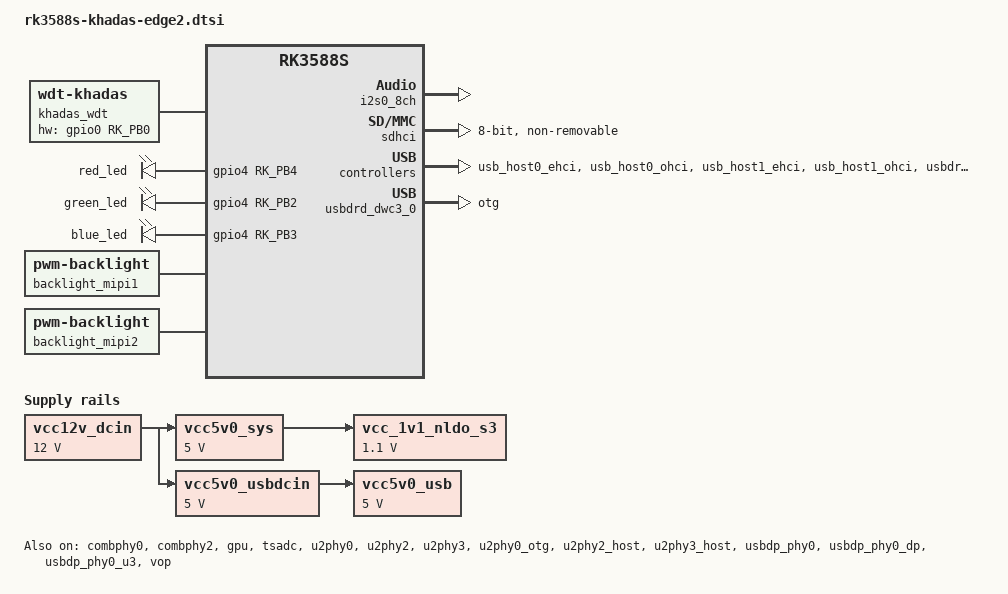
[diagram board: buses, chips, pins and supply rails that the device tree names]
// SPDX-License-Identifier: (GPL-2.0+ OR MIT)
/*
 * Copyright (c) 2022 Wesion Technology Co., Ltd.
 *
 */

#include <dt-bindings/pwm/pwm.h>
#include <dt-bindings/usb/pd.h>
#include <dt-bindings/gpio/gpio.h>
#include <dt-bindings/pinctrl/rockchip.h>
#include <dt-bindings/leds/common.h>
#include <dt-bindings/display/rockchip_vop.h>
#include "rk3588s.dtsi"
#include "rk3588-rk806-single.dtsi"

/ {

	khadas_wdt {
		compatible = "linux,wdt-khadas";
		status = "okay";
		hw_margin_ms = <500>;
		hw-gpios = <&gpio0 RK_PB0 GPIO_ACTIVE_HIGH>;
		pinctrl-names = "default";
		pinctrl-0 = <&wdt_gpio>;
	};

	leds {
		compatible = "gpio-leds";
		pinctrl-names = "default";

		red_led {
			gpios = <&gpio4 RK_PB4 GPIO_ACTIVE_HIGH>;
			label = "red_led";
			linux,default-trigger = "off";
			default-state = "on";
		};

		green_led {
			gpios = <&gpio4 RK_PB2 GPIO_ACTIVE_HIGH>;
			label = "green_led";
			linux,default-trigger = "off";
			default-state = "on";
		};

		blue_led {
			gpios = <&gpio4 RK_PB3 GPIO_ACTIVE_HIGH>;
			label = "blue_led";
			linux,default-trigger = "default-on";
			default-state = "on";
		};
	};

	backlight_mipi1: backlight-mipi1 {
		compatible = "pwm-backlight";
		brightness-levels = <
			  0  20  20  21  21  22  22  23
			 23  24  24  25  25  26  26  27
			 27  28  28  29  29  30  30  31
			 31  32  32  33  33  34  34  35
			 35  36  36  37  37  38  38  39
			 40  41  42  43  44  45  46  47
			 48  49  50  51  52  53  54  55
			 56  57  58  59  60  61  62  63
			 64  65  66  67  68  69  70  71
			 72  73  74  75  76  77  78  79
			 80  81  82  83  84  85  86  87
			 88  89  90  91  92  93  94  95
			 96  97  98  99 100 101 102 103
			104 105 106 107 108 109 110 111
			112 113 114 115 116 117 118 119
			120 121 122 123 124 125 126 127
			128 129 130 131 132 133 134 135
			136 137 138 139 140 141 142 143
			144 145 146 147 148 149 150 151
			152 153 154 155 156 157 158 159
			160 161 162 163 164 165 166 167
			168 169 170 171 172 173 174 175
			176 177 178 179 180 181 182 183
			184 185 186 187 188 189 190 191
			192 193 194 195 196 197 198 199
			200 201 202 203 204 205 206 207
			208 209 210 211 212 213 214 215
			216 217 218 219 220 221 222 223
			224 225 226 227 228 229 230 231
			232 233 234 235 236 237 238 239
			240 241 242 243 244 245 246 247
			248 249 250 251 252 253 254 255
		>;
		default-brightness-level = <200>;
	};

	backlight_mipi2: backlight-mipi2 {
		compatible = "pwm-backlight";
		brightness-levels = <
			  0  20  20  21  21  22  22  23
			 23  24  24  25  25  26  26  27
			 27  28  28  29  29  30  30  31
			 31  32  32  33  33  34  34  35
			 35  36  36  37  37  38  38  39
			 40  41  42  43  44  45  46  47
			 48  49  50  51  52  53  54  55
			 56  57  58  59  60  61  62  63
			 64  65  66  67  68  69  70  71
			 72  73  74  75  76  77  78  79
			 80  81  82  83  84  85  86  87
			 88  89  90  91  92  93  94  95
			 96  97  98  99 100 101 102 103
			104 105 106 107 108 109 110 111
			112 113 114 115 116 117 118 119
			120 121 122 123 124 125 126 127
			128 129 130 131 132 133 134 135
			136 137 138 139 140 141 142 143
			144 145 146 147 148 149 150 151
			152 153 154 155 156 157 158 159
			160 161 162 163 164 165 166 167
			168 169 170 171 172 173 174 175
			176 177 178 179 180 181 182 183
			184 185 186 187 188 189 190 191
			192 193 194 195 196 197 198 199
			200 201 202 203 204 205 206 207
			208 209 210 211 212 213 214 215
			216 217 218 219 220 221 222 223
			224 225 226 227 228 229 230 231
			232 233 234 235 236 237 238 239
			240 241 242 243 244 245 246 247
			248 249 250 251 252 253 254 255
		>;
		default-brightness-level = <200>;
	};

	hdmi0_sound: hdmi0-sound {
		status = "okay";
		compatible = "rockchip,hdmi";
		rockchip,mclk-fs = <128>;
		rockchip,card-name = "rockchip-hdmi0";
		rockchip,cpu = <&i2s5_8ch>;
		rockchip,codec = <&hdmi0>;
		rockchip,jack-det;
    };

	sound_micarray: sound-micarray {
		compatible = "simple-audio-card";
		simple-audio-card,format = "i2s";
		simple-audio-card,name = "rockchip,sound-micarray";
		simple-audio-card,mclk-fs = <256>;
		simple-audio-card,dai-link@0 {
			format = "pdm";
//			cpu {
//				sound-dai = <&pdm0>;
//			};
			codec {
				sound-dai = <&dummy_codec>;
			};
		};
	};

	dummy_codec: dummy-codec {
		compatible = "rockchip,dummy-codec";
		#sound-dai-cells = <0>;
	};

	test-power {
		status = "okay";
	};

	vcc12v_dcin: vcc12v-dcin {
		compatible = "regulator-fixed";
		regulator-name = "vcc12v_dcin";
		regulator-always-on;
		regulator-boot-on;
		regulator-min-microvolt = <12000000>;
		regulator-max-microvolt = <12000000>;
	};

	vcc5v0_sys: vcc5v0-sys {
		compatible = "regulator-fixed";
		regulator-name = "vcc5v0_sys";
		regulator-always-on;
		regulator-boot-on;
		regulator-min-microvolt = <5000000>;
		regulator-max-microvolt = <5000000>;
		vin-supply = <&vcc12v_dcin>;
	};

	vcc_1v1_nldo_s3: vcc-1v1-nldo-s3 {
		compatible = "regulator-fixed";
		regulator-name = "vcc_1v1_nldo_s3";
		regulator-always-on;
		regulator-boot-on;
		regulator-min-microvolt = <1100000>;
		regulator-max-microvolt = <1100000>;
		vin-supply = <&vcc5v0_sys>;
	};

	vcc5v0_usbdcin: vcc5v0-usbdcin {
		compatible = "regulator-fixed";
		regulator-name = "vcc5v0_usbdcin";
		regulator-always-on;
		regulator-boot-on;
		regulator-min-microvolt = <5000000>;
		regulator-max-microvolt = <5000000>;
		vin-supply = <&vcc12v_dcin>;
	};

	vcc5v0_usb: vcc5v0-usb {
		compatible = "regulator-fixed";
		regulator-name = "vcc5v0_usb";
		regulator-always-on;
		regulator-boot-on;
		regulator-min-microvolt = <5000000>;
		regulator-max-microvolt = <5000000>;
		vin-supply = <&vcc5v0_usbdcin>;
	};
};

&sound_micarray {
	status = "okay";
};

&dummy_codec {
	status = "okay";
};

&combphy0 {
	status = "okay";
};

&combphy2 {
	status = "okay";
};

&cpu_l0 {
	cpu-supply = <&vdd_cpu_lit_s0>;
	mem-supply = <&vdd_cpu_lit_mem_s0>;
};

&cpu_b0 {
	cpu-supply = <&vdd_cpu_big0_s0>;
	mem-supply = <&vdd_cpu_big0_mem_s0>;
};

&cpu_b2 {
	cpu-supply = <&vdd_cpu_big1_s0>;
	mem-supply = <&vdd_cpu_big1_mem_s0>;
};

&gpu {
	mali-supply = <&vdd_gpu_s0>;
	sram-supply = <&vdd_gpu_mem_s0>;
	status = "okay";
};

&i2s0_8ch {
	status = "okay";
	pinctrl-0 = <&i2s0_lrck
		     &i2s0_sclk
		     &i2s0_sdi0
		     &i2s0_sdo0>;
};

&sdhci {
	bus-width = <8>;
	no-sdio;
	no-sd;
	non-removable;
	max-frequency = <200000000>;
	mmc-hs400-1_8v;
	mmc-hs400-enhanced-strobe;
	status = "okay";
};

&sdmmc {
	max-frequency = <150000000>;
	no-sdio;
	no-mmc;
	bus-width = <4>;
	cap-mmc-highspeed;
	cap-sd-highspeed;
	disable-wp;
	sd-uhs-sdr104;
	vmmc-supply = <&vcc_sd>;
	vqmmc-supply = <&vccio_sd_s0>;
	status = "disabled";
};

&tsadc {
	status = "okay";
};

&u2phy0 {
	status = "okay";
};

&u2phy2 {
	status = "okay";
};

&u2phy3 {
	status = "okay";
};

&u2phy0_otg {
	status = "okay";
};

&u2phy2_host {
	status = "okay";
};

&u2phy3_host {
	status = "okay";
};

&usb_host0_ehci {
	status = "okay";
};

&usb_host0_ohci {
	status = "okay";
};

&usb_host1_ehci {
	status = "okay";
};

&usb_host1_ohci {
	status = "okay";
};

&usbdp_phy0 {
	status = "okay";
};

&usbdp_phy0_dp {
	status = "okay";
};

&usbdp_phy0_u3 {
	status = "okay";
};

&usbdrd3_0 {
	status = "okay";
};

&usbdrd_dwc3_0 {
	dr_mode = "otg";
	status = "okay";
};

&usbhost3_0 {
	status = "okay";
};

&usbhost_dwc3_0 {
	status = "okay";
};

&vop {
	status = "okay";
	assigned-clocks = <&cru ACLK_VOP>;
	assigned-clock-rates = <800000000>;
};

&vop_mmu {
	status = "okay";
};

/* vp0 & vp1 splice for 8K output */
&vp0 {
	rockchip,plane-mask = <(1 << ROCKCHIP_VOP2_CLUSTER0 | 1 << ROCKCHIP_VOP2_ESMART0)>;
	rockchip,primary-plane = <ROCKCHIP_VOP2_ESMART0>;
};

&vp1 {
	rockchip,plane-mask = <(1 << ROCKCHIP_VOP2_CLUSTER1 | 1 << ROCKCHIP_VOP2_ESMART1)>;
	rockchip,primary-plane = <ROCKCHIP_VOP2_ESMART1>;
};

&vp2 {
	rockchip,plane-mask = <(1 << ROCKCHIP_VOP2_CLUSTER2 | 1 << ROCKCHIP_VOP2_ESMART2)>;
	rockchip,primary-plane = <ROCKCHIP_VOP2_ESMART2>;
};

&vp3 {
	rockchip,plane-mask = <(1 << ROCKCHIP_VOP2_CLUSTER3 | 1 << ROCKCHIP_VOP2_ESMART3)>;
	rockchip,primary-plane = <ROCKCHIP_VOP2_ESMART3>;
};

/* Fix tty terminal out of screen, and most dclk of resolutions was not supported in hdmiphy clock from parent clock by default */
&display_subsystem {
	clocks = <&hdptxphy_hdmi_clk0>;
	clock-names = "hdmi0_phy_pll";
};
